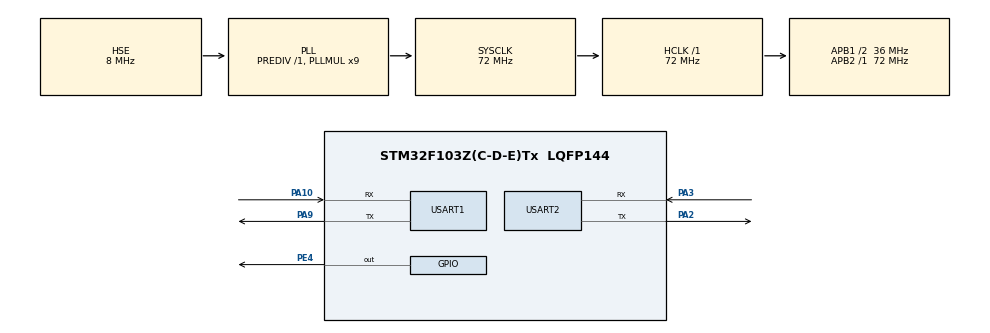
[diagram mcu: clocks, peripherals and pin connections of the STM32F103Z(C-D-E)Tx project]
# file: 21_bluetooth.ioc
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Mcu.Family=STM32F1
Mcu.Name=STM32F103Z(C-D-E)Tx
Mcu.Package=LQFP144
NVIC.PriorityGroup=NVIC_PRIORITYGROUP_4
NVIC.USART2_IRQn=true\:0\:0\:false\:false\:true\:true\:true\:true
OSC_IN.Mode=HSE-External-Oscillator
OSC_IN.Signal=RCC_OSC_IN
OSC_OUT.Mode=HSE-External-Oscillator
OSC_OUT.Signal=RCC_OSC_OUT
PA10.Mode=Asynchronous
PA10.Signal=USART1_RX
PA13.Mode=Serial_Wire
PA13.Signal=SYS_JTMS-SWDIO
PA14.Mode=Serial_Wire
PA14.Signal=SYS_JTCK-SWCLK
PA2.Mode=Asynchronous
PA2.Signal=USART2_TX
PA3.Mode=Asynchronous
PA3.Signal=USART2_RX
PA9.Mode=Asynchronous
PA9.Signal=USART1_TX
PC14-OSC32_IN.Mode=LSE-External-Oscillator
PC14-OSC32_IN.Signal=RCC_OSC32_IN
PC15-OSC32_OUT.Mode=LSE-External-Oscillator
PC15-OSC32_OUT.Signal=RCC_OSC32_OUT
PE4.GPIO_ModeDefaultOutputPP=GPIO_MODE_OUTPUT_PP
PE4.GPIO_PuPd=GPIO_PULLUP
PE4.GPIO_Speed=GPIO_SPEED_FREQ_HIGH
PE4.Signal=GPIO_Output
ProjectManager.HeapSize=0x200
ProjectManager.StackSize=0x400
ProjectManager.TargetToolchain=CMake
RCC.AHBFreq_Value=72000000
RCC.APB1CLKDivider=RCC_HCLK_DIV2
RCC.APB1Freq_Value=36000000
RCC.APB1TimFreq_Value=72000000
RCC.APB2Freq_Value=72000000
RCC.APB2TimFreq_Value=72000000
RCC.HCLKFreq_Value=72000000
RCC.PLLMUL=RCC_PLL_MUL9
RCC.PLLSourceVirtual=RCC_PLLSOURCE_HSE
RCC.SYSCLKFreq_VALUE=72000000
RCC.SYSCLKSource=RCC_SYSCLKSOURCE_PLLCLK
RCC.USBFreq_Value=72000000
USART1.VirtualMode=VM_ASYNC
USART2.VirtualMode=VM_ASYNC
board=custom

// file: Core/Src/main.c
/* USER CODE BEGIN Header */
/**
  ******************************************************************************
  * @file           : main.c
  * @brief          : Main program body
  ******************************************************************************
  * @attention
  *
  * Copyright (c) 2026 STMicroelectronics.
  * All rights reserved.
  *
  * This software is licensed under terms that can be found in the LICENSE file
  * in the root directory of this software component.
  * If no LICENSE file comes with this software, it is provided AS-IS.
  *
  ******************************************************************************
  */
/* USER CODE END Header */
#include "main.h"
#include "usart.h"
#include "gpio.h"

/* USER CODE BEGIN Includes */

#include <stdio.h>
#include <string.h>

#include "bluetooth.h"
/* USER CODE END Includes */

void SystemClock_Config(void);

/* USER CODE BEGIN 0 */

uint8_t data[1024] = {0};
uint16_t rxlen = 0;

/* USER CODE END 0 */

int main(void)
{

  /* MCU Configuration--------------------------------------------------------*/

  /* Reset of all peripherals, Initializes the Flash interface and the Systick. */
  HAL_Init();

  /* Configure the system clock */
  SystemClock_Config();

  /* Initialize all configured peripherals */
  MX_GPIO_Init();
  MX_USART1_UART_Init();
  MX_USART2_UART_Init();
  /* USER CODE BEGIN 2 */

  bool res = BLE_Init();
  uint8_t retry = 30;

  while (!res && retry > 0) {
    retry--;
    printf("BLE_Init failed, retry %u/3 in 3s...\r\n", (uint32_t)(3 - retry));
    HAL_Delay(3000);
    res = BLE_Init();
  }

  if (!res) {
    printf("[ERROR] BLE init failed after 4 attempts, system halted.\r\n");
    Error_Handler();
  }
  /* USER CODE END 2 */

  /* Infinite loop */
  /* USER CODE BEGIN WHILE */
  while (1)
  {
    if (rxlen > 0)
    {
      memset(data, 0, sizeof(data));
      rxlen = 0;
    }

    BLE_ReadData(data, &rxlen);

    if (rxlen > 0)
    {
      printf("\r\n>>>>>>>>>>>>>>>>>>>>>>\r\nBLE_ReadData:\r\n\t%d\r\n\r\n\t%s\r\n>>>>>>>>>>>>>>>>>>>>>>\r\n", rxlen,
             (char*)data);

      // 返回数据给设备

      BLE_SendData(data, rxlen);
    }

    HAL_Delay(1000);
    /* USER CODE END WHILE */

  }
}

void SystemClock_Config(void)
{
  RCC_OscInitTypeDef RCC_OscInitStruct = {0};
  RCC_ClkInitTypeDef RCC_ClkInitStruct = {0};

  /** Initializes the RCC Oscillators according to the specified parameters
  * in the RCC_OscInitTypeDef structure.
  */
  RCC_OscInitStruct.OscillatorType = RCC_OSCILLATORTYPE_HSE;
  RCC_OscInitStruct.HSEState = RCC_HSE_ON;
  RCC_OscInitStruct.HSEPredivValue = RCC_HSE_PREDIV_DIV1;
  RCC_OscInitStruct.HSIState = RCC_HSI_ON;
  RCC_OscInitStruct.PLL.PLLState = RCC_PLL_ON;
  RCC_OscInitStruct.PLL.PLLSource = RCC_PLLSOURCE_HSE;
  RCC_OscInitStruct.PLL.PLLMUL = RCC_PLL_MUL9;
  if (HAL_RCC_OscConfig(&RCC_OscInitStruct) != HAL_OK)
  {
    Error_Handler();
  }

  /** Initializes the CPU, AHB and APB buses clocks
  */
  RCC_ClkInitStruct.ClockType = RCC_CLOCKTYPE_HCLK | RCC_CLOCKTYPE_SYSCLK
    | RCC_CLOCKTYPE_PCLK1 | RCC_CLOCKTYPE_PCLK2;
  RCC_ClkInitStruct.SYSCLKSource = RCC_SYSCLKSOURCE_PLLCLK;
  RCC_ClkInitStruct.AHBCLKDivider = RCC_SYSCLK_DIV1;
  RCC_ClkInitStruct.APB1CLKDivider = RCC_HCLK_DIV2;
  RCC_ClkInitStruct.APB2CLKDivider = RCC_HCLK_DIV1;

  if (HAL_RCC_ClockConfig(&RCC_ClkInitStruct, FLASH_LATENCY_2) != HAL_OK)
  {
    Error_Handler();
  }
}

void Error_Handler(void)
{
  __disable_irq();
  while (1)
  {
  }
}
